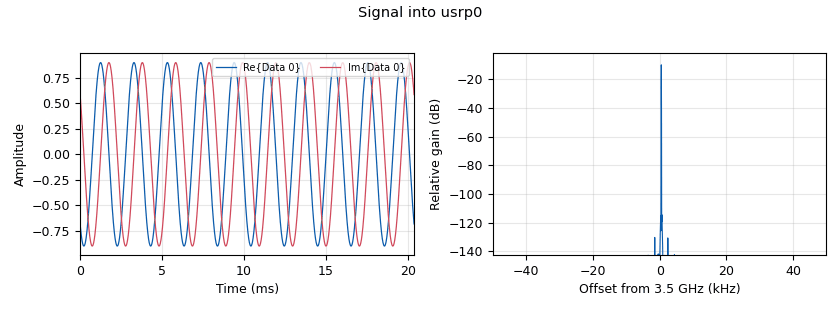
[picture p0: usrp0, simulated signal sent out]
options:
  parameters:
    author: OT
    description: udoppler
    generate_options: qt_gui
    id: top_block
    output_language: python
    title: udoppler
  states: {}

blocks:
- name: amplitude
  id: variable
  parameters:
    value: '0.9'
  states: {}
- name: freq
  id: variable
  parameters:
    value: 3.5e9
  states: {}
- name: gainRX
  id: variable_qtgui_range
  parameters:
    label: gainRX
    start: '0'
    step: '1'
    stop: '70'
    value: '55'
  states: {}
- name: gainTX
  id: variable_qtgui_range
  parameters:
    label: gainTX
    start: '0'
    step: '1'
    stop: '70'
    value: '55'
  states: {}
- name: samp_rate
  id: variable
  parameters:
    value: 100e3
  states: {}
- name: usrpRX
  id: variable
  parameters:
    value: '"serial=30B0CED"'
  states: {}
- name: usrpTX
  id: variable
  parameters:
    value: '"serial=30B0CED"'
  states: {}
- name: analog_sig_source_x_0
  id: analog_sig_source_x
  parameters:
    amp: amplitude
    freq: 1e6/2040
    offset: '0'
    phase: '0'
    samp_rate: samp_rate
    type: complex
    waveform: analog.GR_COS_WAVE
  states: {}
- name: blocks_stream_to_vector_0
  id: blocks_stream_to_vector
  parameters:
    num_items: '2040'
    type: complex
  states: {}
- name: usrp0
  id: uhd_usrp_sink
  parameters:
    ant0: TX/RX
    center_freq0: freq
    clock_rate: '0.0'
    dev_addr: usrpTX
    dev_args: '""'
    gain0: gainTX
    len_tag_name: ''
    samp_rate: samp_rate
    stream_chans: '[0]'
    sync: sync
    type: fc32
  states: {}
- name: usrp1
  id: uhd_usrp_source
  parameters:
    ant0: RX2
    center_freq0: freq
    clock_rate: '0.0'
    dev_addr: usrpRX
    dev_args: '""'
    gain0: gainRX
    samp_rate: samp_rate
    stream_chans: '[0]'
    sync: sync
    type: fc32
  states: {}
- name: zeromq_pub_sink_0
  id: zeromq_pub_sink
  parameters:
    address: tcp://127.0.0.1:5555
    timeout: '100'
    type: complex
    vlen: '2040'
  states: {}

connections:
- [analog_sig_source_x_0, '0', usrp0, '0']
- [blocks_stream_to_vector_0, '0', zeromq_pub_sink_0, '0']
- [usrp1, '0', blocks_stream_to_vector_0, '0']

metadata:
  file_format: 1
  grc_version: 3.10.12.0
